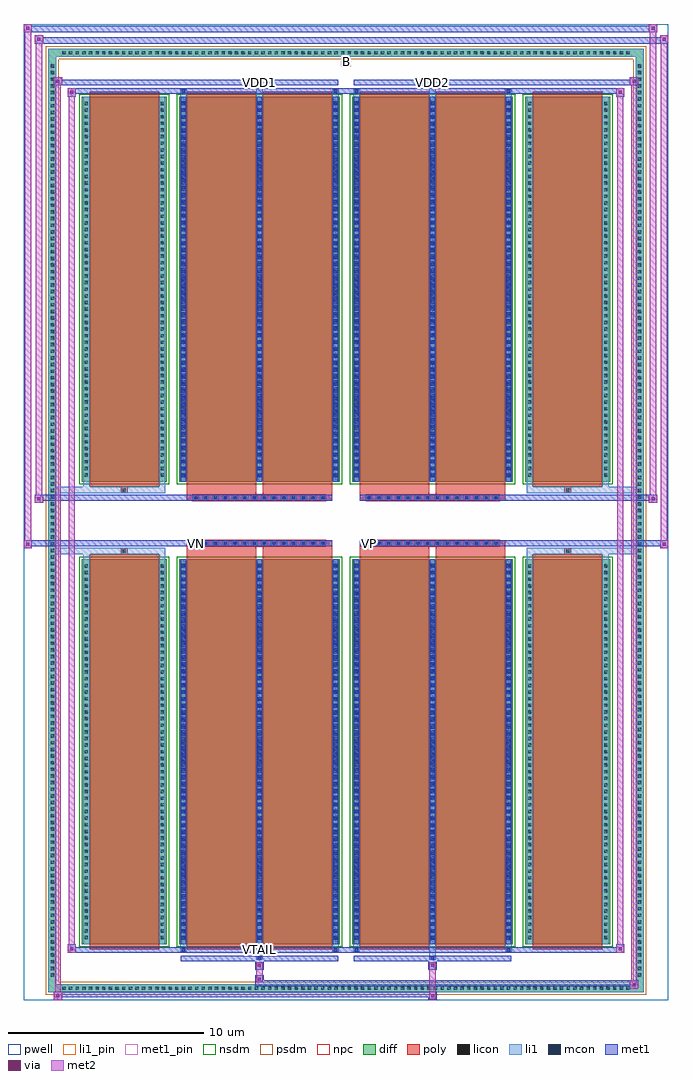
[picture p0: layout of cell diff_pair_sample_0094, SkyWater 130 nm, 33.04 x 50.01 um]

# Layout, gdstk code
import gdstk
lib = gdstk.Library(unit=1e-6, precision=5e-09)
def R(c, l, rs):  # rectangles x0, y0, x1, y1
    for r in rs: c.add(gdstk.rectangle(r[:2], r[2:], *l))
def A(c, l, x, y, w, h, nx, ny, dx, dy):  # array of equal rectangles
    R(c, l, [(x+i*dx, y+j*dy, x+i*dx+w, y+j*dy+h) for i in range(nx) for j in range(ny)])
def P(c, l, *ps):  # polygons
    for p in ps: c.add(gdstk.Polygon(p, *l))
pwell = (64, 44)
diff = (65, 20)
poly = (66, 20)
licon = (66, 44)
li1_pin = (67, 16)
li1 = (67, 20)
mcon = (67, 44)
met1_pin = (68, 16)
met1 = (68, 20)
via = (68, 44)
met2 = (69, 20)
nsdm = (93, 44)
psdm = (94, 20)
npc = (95, 20)

diff_pair_sample_0094 = lib.new_cell('diff_pair_sample_0094')
R(diff_pair_sample_0094, pwell, [(-16.52,-24.57,16.52,25.44), (-13.84,-22.76,-0.01,-0.8), (0.01,-22.76,13.84,-0.8), (-13.84,0.8,-0.01,22.76), (0.01,0.8,13.84,22.76)])
A(diff_pair_sample_0094, diff, -14.655, -24.17, 0.41, 0.41, 86, 2, 0.34, 47.93)
A(diff_pair_sample_0094, diff, -15.25, -23.495, 0.41, 0.41, 1, 138, 0, 0.34)
A(diff_pair_sample_0094, diff, 14.84, -23.495, 0.41, 0.41, 1, 138, 0, 0.34)
R(diff_pair_sample_0094, diff, [(-14.655,-24.17,14.655,-23.76), (-15.25,-23.495,-14.84,23.495), (14.84,-23.495,15.25,23.495), (-13.53,-21.715,-9.19,-1.985), (-8.55,-21.715,-0.32,-1.985), (0.32,-21.715,8.55,-1.985), (9.19,-21.715,13.53,-1.985), (-13.53,1.985,-9.19,21.715), (-8.55,1.985,-0.32,21.715), (0.32,1.985,8.55,21.715), (9.19,1.985,13.53,21.715), (-14.655,23.76,14.655,24.17)])
P(diff_pair_sample_0094, diff, [(15.25,24.17),(-15.25,24.17),(-15.25,-23.76),(-14.84,-23.76),(-14.84,23.76),(14.84,23.76),(14.84,-23.76),(-14.84,-23.76),(-15.25,-23.76),(-15.25,-24.17),(15.25,-24.17)])
A(diff_pair_sample_0094, poly, -7.85, -1.33, 0.33, 0.33, 14, 2, 0.5, 2.33)
A(diff_pair_sample_0094, poly, 1.02, -1.33, 0.33, 0.33, 14, 2, 0.5, 2.33)
R(diff_pair_sample_0094, poly, [(-13.14,-21.965,-9.58,-1.735), (-8.16,-21.965,-4.6,-1.735), (-4.27,-21.965,-0.71,-1.735), (0.71,-21.965,4.27,-1.735), (4.6,-21.965,8.16,-1.735), (9.58,-21.965,13.14,-1.735), (-11.525,-1.735,-11.195,-1.405), (-11.525,-1.735,-11.195,-1.405), (-8.16,-1.735,-4.6,-1.33), (-4.27,-1.735,-0.71,-1.33), (0.71,-1.735,4.27,-1.33), (4.6,-1.735,8.16,-1.33), (11.195,-1.735,11.525,-1.405), (11.195,-1.735,11.525,-1.405), (-8.16,-1.33,-0.71,-1), (0.71,-1.33,8.16,-1), (-8.16,1,-0.71,1.33), (0.71,1,8.16,1.33), (-8.16,1.33,-4.6,1.735), (-4.27,1.33,-0.71,1.735), (0.71,1.33,4.27,1.735), (4.6,1.33,8.16,1.735), (-11.525,1.405,-11.195,1.735), (-11.525,1.405,-11.195,1.735), (11.195,1.405,11.525,1.735), (11.195,1.405,11.525,1.735), (-13.14,1.735,-9.58,21.965), (-8.16,1.735,-4.6,21.965), (-4.27,1.735,-0.71,21.965), (0.71,1.735,4.27,21.965), (4.6,1.735,8.16,21.965), (9.58,1.735,13.14,21.965)])
A(diff_pair_sample_0094, licon, -14.535, -24.05, 0.17, 0.17, 86, 2, 0.34, 47.93)
A(diff_pair_sample_0094, licon, -15.13, -23.375, 0.17, 0.17, 1, 138, 0, 0.34)
A(diff_pair_sample_0094, licon, 14.96, -23.375, 0.17, 0.17, 1, 138, 0, 0.34)
A(diff_pair_sample_0094, licon, -13.39, -21.455, 0.17, 0.17, 1, 57, 0, 0.34)
A(diff_pair_sample_0094, licon, -9.5, -21.455, 0.17, 0.17, 1, 57, 0, 0.34)
A(diff_pair_sample_0094, licon, -8.41, -21.455, 0.17, 0.17, 3, 57, 3.89, 0.34)
A(diff_pair_sample_0094, licon, 0.46, -21.455, 0.17, 0.17, 3, 57, 3.89, 0.34)
A(diff_pair_sample_0094, licon, 9.33, -21.455, 0.17, 0.17, 1, 57, 0, 0.34)
A(diff_pair_sample_0094, licon, 13.22, -21.455, 0.17, 0.17, 1, 57, 0, 0.34)
A(diff_pair_sample_0094, licon, -7.77, -1.25, 0.17, 0.17, 14, 2, 0.5, 2.33)
A(diff_pair_sample_0094, licon, 1.1, -1.25, 0.17, 0.17, 14, 2, 0.5, 2.33)
A(diff_pair_sample_0094, licon, -13.39, 2.245, 0.17, 0.17, 1, 57, 0, 0.34)
A(diff_pair_sample_0094, licon, -9.5, 2.245, 0.17, 0.17, 1, 57, 0, 0.34)
A(diff_pair_sample_0094, licon, -8.41, 2.245, 0.17, 0.17, 3, 57, 3.89, 0.34)
A(diff_pair_sample_0094, licon, 0.46, 2.245, 0.17, 0.17, 3, 57, 3.89, 0.34)
A(diff_pair_sample_0094, licon, 9.33, 2.245, 0.17, 0.17, 1, 57, 0, 0.34)
A(diff_pair_sample_0094, licon, 13.22, 2.245, 0.17, 0.17, 1, 57, 0, 0.34)
R(diff_pair_sample_0094, licon, [(-11.445,-1.655,-11.275,-1.485), (11.275,-1.655,11.445,-1.485), (-11.445,1.485,-11.275,1.655), (11.275,1.485,11.445,1.655)])
R(diff_pair_sample_0094, li1_pin, [(-0.25,23.26,0.25,23.76)])
A(diff_pair_sample_0094, li1, -14.615, -24.13, 0.33, 0.33, 86, 2, 0.34, 47.93)
A(diff_pair_sample_0094, li1, -15.21, -23.455, 0.33, 0.33, 1, 138, 0, 0.34)
A(diff_pair_sample_0094, li1, 14.88, -23.455, 0.33, 0.33, 1, 138, 0, 0.34)
A(diff_pair_sample_0094, li1, -8.49, -21.715, 0.33, 19.73, 3, 2, 3.89, 23.7)
A(diff_pair_sample_0094, li1, 0.38, -21.715, 0.33, 19.73, 3, 2, 3.89, 23.7)
A(diff_pair_sample_0094, li1, -13.47, -21.535, 0.33, 0.33, 1, 57, 0, 0.34)
A(diff_pair_sample_0094, li1, -9.58, -21.535, 0.33, 0.33, 1, 57, 0, 0.34)
A(diff_pair_sample_0094, li1, -8.49, -21.535, 0.33, 0.33, 3, 57, 3.89, 0.34)
A(diff_pair_sample_0094, li1, 0.38, -21.535, 0.33, 0.33, 3, 57, 3.89, 0.34)
A(diff_pair_sample_0094, li1, 9.25, -21.535, 0.33, 0.33, 1, 57, 0, 0.34)
A(diff_pair_sample_0094, li1, 13.14, -21.535, 0.33, 0.33, 1, 57, 0, 0.34)
A(diff_pair_sample_0094, li1, -8.41, -21.475, 0.17, 0.17, 3, 54, 3.89, 0.36)
A(diff_pair_sample_0094, li1, -8.41, -21.475, 0.17, 19.25, 3, 2, 3.89, 23.7)
A(diff_pair_sample_0094, li1, 0.46, -21.475, 0.17, 0.17, 3, 54, 3.89, 0.36)
A(diff_pair_sample_0094, li1, 0.46, -21.475, 0.17, 19.25, 3, 2, 3.89, 23.7)
A(diff_pair_sample_0094, li1, -7.85, -1.33, 0.33, 0.33, 14, 2, 0.5, 2.33)
A(diff_pair_sample_0094, li1, 1.02, -1.33, 0.33, 0.33, 14, 2, 0.5, 2.33)
A(diff_pair_sample_0094, li1, -13.47, 2.165, 0.33, 0.33, 1, 57, 0, 0.34)
A(diff_pair_sample_0094, li1, -9.58, 2.165, 0.33, 0.33, 1, 57, 0, 0.34)
A(diff_pair_sample_0094, li1, -8.49, 2.165, 0.33, 0.33, 3, 57, 3.89, 0.34)
A(diff_pair_sample_0094, li1, 0.38, 2.165, 0.33, 0.33, 3, 57, 3.89, 0.34)
A(diff_pair_sample_0094, li1, 9.25, 2.165, 0.33, 0.33, 1, 57, 0, 0.34)
A(diff_pair_sample_0094, li1, 13.14, 2.165, 0.33, 0.33, 1, 57, 0, 0.34)
A(diff_pair_sample_0094, li1, -8.41, 2.225, 0.17, 0.17, 3, 54, 3.89, 0.36)
A(diff_pair_sample_0094, li1, 0.46, 2.225, 0.17, 0.17, 3, 54, 3.89, 0.36)
R(diff_pair_sample_0094, li1, [(-15.25,-24.17,-14.84,-23.76), (-15.25,-24.17,-14.84,-23.76), (-14.84,-24.17,14.84,-23.76), (14.84,-24.17,15.25,-23.76), (14.84,-24.17,15.25,-23.76), (-15.25,-23.76,-14.84,23.76), (14.84,-23.76,15.25,23.76), (-4.6,-22.52,-4.27,-21.715), (-4.52,-22.52,-4.35,-22.35), (4.27,-22.52,4.6,-21.715), (4.35,-22.52,4.52,-22.35), (-8.49,-22.09,-8.16,-21.715), (-8.41,-22.09,-8.24,-21.92), (-0.71,-22.09,-0.38,-21.715), (-0.63,-22.09,-0.46,-21.92), (0.38,-22.09,0.71,-21.715), (0.46,-22.09,0.63,-21.92), (8.16,-22.09,8.49,-21.715), (8.24,-22.09,8.41,-21.92), (-13.47,-21.715,-13.14,-1.985), (-9.58,-21.715,-9.25,-1.985), (9.25,-21.715,9.58,-1.985), (13.14,-21.715,13.47,-1.985), (-13.47,-1.985,-13.14,-1.405), (-9.58,-1.985,-9.25,-1.405), (9.25,-1.985,9.58,-1.405), (13.14,-1.985,13.47,-1.405), (-15.25,-1.735,-11.525,-1.405), (-13.47,-1.735,-11.525,-1.405), (-11.525,-1.735,-11.195,-1.405), (-11.195,-1.735,-9.25,-1.405), (9.25,-1.735,11.195,-1.405), (11.195,-1.735,11.525,-1.405), (11.195,-1.735,15.25,-1.405), (11.525,-1.735,13.47,-1.405), (-15.25,1.405,-11.525,1.735), (-13.47,1.405,-11.525,1.735), (-13.47,1.405,-13.14,1.985), (-11.525,1.405,-11.195,1.735), (-11.195,1.405,-9.25,1.735), (-9.58,1.405,-9.25,1.985), (9.25,1.405,11.195,1.735), (9.25,1.405,9.58,1.985), (11.195,1.405,11.525,1.735), (11.195,1.405,15.25,1.735), (11.525,1.405,13.47,1.735), (13.14,1.405,13.47,1.985), (-13.47,1.985,-13.14,21.715), (-9.58,1.985,-9.25,21.715), (9.25,1.985,9.58,21.715), (13.14,1.985,13.47,21.715), (-8.49,21.715,-8.16,22.09), (-4.6,21.715,-4.27,22.52), (-0.71,21.715,-0.38,22.09), (0.38,21.715,0.71,22.09), (4.27,21.715,4.6,22.52), (8.16,21.715,8.49,22.09), (-8.41,21.92,-8.24,22.09), (-0.63,21.92,-0.46,22.09), (0.46,21.92,0.63,22.09), (8.24,21.92,8.41,22.09), (-4.52,22.35,-4.35,22.52), (4.35,22.35,4.52,22.52), (-15.25,23.76,-14.84,24.17), (-15.25,23.76,-14.84,24.17), (-14.84,23.76,14.84,24.17), (14.84,23.76,15.25,24.17), (14.84,23.76,15.25,24.17)])
A(diff_pair_sample_0094, mcon, -8.41, -21.475, 0.17, 0.17, 3, 54, 3.89, 0.36)
A(diff_pair_sample_0094, mcon, 0.46, -21.475, 0.17, 0.17, 3, 54, 3.89, 0.36)
A(diff_pair_sample_0094, mcon, -7.77, -1.25, 0.17, 0.17, 14, 2, 0.5, 2.33)
A(diff_pair_sample_0094, mcon, 1.1, -1.25, 0.17, 0.17, 14, 2, 0.5, 2.33)
A(diff_pair_sample_0094, mcon, -8.41, 2.225, 0.17, 0.17, 3, 54, 3.89, 0.36)
A(diff_pair_sample_0094, mcon, 0.46, 2.225, 0.17, 0.17, 3, 54, 3.89, 0.36)
R(diff_pair_sample_0094, mcon, [(-4.52,-22.52,-4.35,-22.35), (4.35,-22.52,4.52,-22.35), (-8.41,-22.09,-8.24,-21.92), (-0.63,-22.09,-0.46,-21.92), (0.46,-22.09,0.63,-21.92), (8.24,-22.09,8.41,-21.92), (-8.41,21.92,-8.24,22.09), (-0.63,21.92,-0.46,22.09), (0.46,21.92,0.63,22.09), (8.24,21.92,8.41,22.09), (-4.52,22.35,-4.35,22.52), (4.35,22.35,4.52,22.52)])
R(diff_pair_sample_0094, met1_pin, [(-4.57,-22.13,-4.3,-21.86), (-7.82,-1.29,-7.55,-1.02), (1.05,-1.29,1.32,-1.02), (-4.57,22.31,-4.3,22.58), (4.3,22.31,4.57,22.58)])
A(diff_pair_sample_0094, met1, -8.47, -21.715, 0.29, 19.73, 3, 2, 3.89, 23.7)
A(diff_pair_sample_0094, met1, 0.4, -21.715, 0.29, 19.73, 3, 2, 3.89, 23.7)
A(diff_pair_sample_0094, met1, -8.47, -21.535, 0.29, 0.29, 3, 54, 3.89, 0.36)
A(diff_pair_sample_0094, met1, 0.4, -21.535, 0.29, 0.29, 3, 54, 3.89, 0.36)
A(diff_pair_sample_0094, met1, -7.83, -1.31, 0.29, 0.29, 14, 2, 0.5, 2.33)
A(diff_pair_sample_0094, met1, 1.04, -1.31, 0.29, 0.29, 14, 2, 0.5, 2.33)
A(diff_pair_sample_0094, met1, -8.47, 2.165, 0.29, 0.29, 3, 54, 3.89, 0.36)
A(diff_pair_sample_0094, met1, 0.4, 2.165, 0.29, 0.29, 3, 54, 3.89, 0.36)
R(diff_pair_sample_0094, met1, [(-14.98,-24.57,-14.55,-24.14), (4.22,-24.57,4.65,-24.14), (-14.98,-24.43,4.65,-24.14), (14.55,-24,14.98,-23.57), (-4.65,-23.86,14.98,-23.57), (-4.65,-23.72,-4.22,-23.29), (-4.65,-23.01,-4.22,-22.58), (4.22,-23.01,4.65,-22.58), (-8.47,-22.58,-0.4,-22.29), (-4.58,-22.58,-4.29,-22.29), (0.4,-22.58,8.47,-22.29), (4.29,-22.58,4.58,-22.29), (-14.27,-22.15,-13.84,-21.72), (-14.27,-22.15,-8.47,-21.86), (-8.47,-22.15,-8.18,-21.86), (-8.47,-22.15,-0.4,-21.86), (-0.69,-22.15,-0.4,-21.86), (-0.4,-22.15,0.4,-21.86), (0.4,-22.15,0.69,-21.86), (0.4,-22.15,8.47,-21.86), (8.18,-22.15,8.47,-21.86), (8.47,-22.15,14.27,-21.86), (13.84,-22.15,14.27,-21.72), (-16.52,-1.43,-16.09,-1), (16.09,-1.43,16.52,-1), (-16.52,-1.33,-0.71,-1), (-8.16,-1.33,-0.71,-1), (0.71,-1.33,8.16,-1), (0.71,-1.33,16.52,-1), (-15.95,0.9,-15.52,1.33), (15.52,0.9,15.95,1.33), (-15.95,1,-8.16,1.33), (-8.16,1,-0.71,1.33), (0.71,1,8.16,1.33), (8.16,1,15.95,1.33), (-14.27,21.72,-13.84,22.15), (13.84,21.72,14.27,22.15), (-14.27,21.86,-8.47,22.15), (-8.47,21.86,-8.18,22.15), (-8.47,21.86,-0.4,22.15), (-0.69,21.86,-0.4,22.15), (-0.4,21.86,0.4,22.15), (0.4,21.86,0.69,22.15), (0.4,21.86,8.47,22.15), (8.18,21.86,8.47,22.15), (8.47,21.86,14.27,22.15), (-14.98,22.29,-14.55,22.72), (-14.98,22.29,-8.47,22.58), (-8.47,22.29,-0.4,22.58), (-4.58,22.29,-4.29,22.58), (0.4,22.29,8.47,22.58), (4.29,22.29,4.58,22.58), (8.47,22.29,14.98,22.58), (14.55,22.29,14.98,22.72), (-15.95,24.44,-15.52,24.87), (-15.95,24.44,-13.84,24.77), (-13.84,24.44,13.84,24.77), (13.84,24.44,16.52,24.77), (16.09,24.44,16.52,24.87), (-16.52,25.01,-16.09,25.44), (-16.52,25.01,-13.84,25.34), (-13.84,25.01,13.84,25.34), (13.84,25.01,15.95,25.34), (15.52,25.01,15.95,25.44)])
R(diff_pair_sample_0094, via, [(-14.84,-24.43,-14.69,-24.28), (4.36,-24.43,4.51,-24.28), (14.69,-23.86,14.84,-23.71), (-4.51,-23.58,-4.36,-23.43), (-4.51,-22.87,-4.36,-22.72), (4.36,-22.87,4.51,-22.72), (-14.13,-22.01,-13.98,-21.86), (13.98,-22.01,14.13,-21.86), (-16.38,-1.29,-16.23,-1.14), (16.23,-1.29,16.38,-1.14), (-15.81,1.04,-15.66,1.19), (15.66,1.04,15.81,1.19), (-14.13,21.86,-13.98,22.01), (13.98,21.86,14.13,22.01), (-14.84,22.43,-14.69,22.58), (14.69,22.43,14.84,22.58), (-15.81,24.58,-15.66,24.73), (16.23,24.58,16.38,24.73), (-16.38,25.15,-16.23,25.3), (15.66,25.15,15.81,25.3)])
R(diff_pair_sample_0094, met2, [(-14.98,-24.57,-14.55,-24.14), (-14.91,-24.57,-14.62,22.72), (-14.62,-24.57,-14.55,-24.14), (-14.93,-24.52,-14.6,-24.19), (4.27,-24.52,4.6,-24.19), (4.27,-24.19,4.6,-22.96), (14.55,-24,14.98,-23.57), (14.62,-24,14.91,22.72), (14.91,-24,14.98,-23.57), (14.6,-23.95,14.93,-23.62), (-4.6,-23.67,-4.27,-23.34), (-4.6,-23.34,-4.27,-22.96), (-4.6,-22.96,-4.27,-22.63), (4.27,-22.96,4.6,-22.63), (-14.27,-22.15,-13.84,-21.72), (-14.2,-22.15,-13.91,22.15), (-13.91,-22.15,-13.84,-21.72), (13.84,-22.15,14.27,-21.72), (13.91,-22.15,14.2,22.15), (14.2,-22.15,14.27,-21.72), (-14.22,-22.1,-13.89,-21.77), (13.89,-22.1,14.22,-21.77), (-16.52,-1.43,-16.09,-1), (-16.47,-1.43,-16.14,25.44), (-16.14,-1.43,-16.09,-1), (16.09,-1.43,16.52,-1), (16.14,-1.43,16.47,24.87), (16.47,-1.43,16.52,-1), (-16.47,-1.38,-16.14,-1.05), (16.14,-1.38,16.47,-1.05), (-15.95,0.9,-15.52,1.33), (-15.9,0.9,-15.57,24.87), (-15.57,0.9,-15.52,1.33), (15.52,0.9,15.95,1.33), (15.57,0.9,15.9,25.44), (15.9,0.9,15.95,1.33), (-15.9,0.95,-15.57,1.28), (15.57,0.95,15.9,1.28), (-14.27,21.72,-13.84,22.15), (-13.91,21.72,-13.84,22.15), (13.84,21.72,14.27,22.15), (14.2,21.72,14.27,22.15), (-14.22,21.77,-13.89,22.1), (13.89,21.77,14.22,22.1), (-14.98,22.29,-14.55,22.72), (-14.62,22.29,-14.55,22.72), (14.55,22.29,14.98,22.72), (14.91,22.29,14.98,22.72), (-14.93,22.34,-14.6,22.67), (14.6,22.34,14.93,22.67), (-15.95,24.44,-15.52,24.87), (-15.57,24.44,-15.52,24.87), (16.09,24.44,16.52,24.87), (16.47,24.44,16.52,24.87), (-15.9,24.49,-15.57,24.82), (16.14,24.49,16.47,24.82), (-16.52,25.01,-16.09,25.44), (-16.14,25.01,-16.09,25.44), (15.52,25.01,15.95,25.44), (15.9,25.01,15.95,25.44), (-16.47,25.06,-16.14,25.39), (15.57,25.06,15.9,25.39)])
R(diff_pair_sample_0094, nsdm, [(-13.66,-21.845,-9.06,-1.855), (-8.68,-21.845,-0.19,-1.855), (0.19,-21.845,8.68,-1.855), (9.06,-21.845,13.66,-1.855), (-13.66,1.855,-9.06,21.845), (-8.68,1.855,-0.19,21.845), (0.19,1.855,8.68,21.845), (9.06,1.855,13.66,21.845)])
P(diff_pair_sample_0094, psdm, [(15.38,24.3),(-15.38,24.3),(-15.38,-23.63),(-14.71,-23.63),(-14.71,23.63),(14.71,23.63),(14.71,-23.63),(-14.71,-23.63),(-15.38,-23.63),(-15.38,-24.3),(15.38,-24.3)])
A(diff_pair_sample_0094, npc, -7.87, -1.35, 0.37, 0.37, 14, 2, 0.5, 2.33)
A(diff_pair_sample_0094, npc, 1, -1.35, 0.37, 0.37, 14, 2, 0.5, 2.33)
R(diff_pair_sample_0094, npc, [(-11.545,-1.755,-11.175,-1.385), (11.175,-1.755,11.545,-1.385), (-7.87,-1.35,-7,-0.98), (-7.87,-1.35,-7,-0.98), (-7.37,-1.35,-6.5,-0.98), (-7.37,-1.35,-6.5,-0.98), (-6.87,-1.35,-6,-0.98), (-6.87,-1.35,-6,-0.98), (-6.37,-1.35,-5.5,-0.98), (-6.37,-1.35,-5.5,-0.98), (-5.87,-1.35,-5,-0.98), (-5.87,-1.35,-5,-0.98), (-5.37,-1.35,-4.5,-0.98), (-5.37,-1.35,-4.5,-0.98), (-4.87,-1.35,-4,-0.98), (-4.87,-1.35,-4,-0.98), (-4.37,-1.35,-3.5,-0.98), (-4.37,-1.35,-3.5,-0.98), (-3.87,-1.35,-3,-0.98), (-3.87,-1.35,-3,-0.98), (-3.37,-1.35,-2.5,-0.98), (-3.37,-1.35,-2.5,-0.98), (-2.87,-1.35,-2,-0.98), (-2.87,-1.35,-2,-0.98), (-2.37,-1.35,-1.5,-0.98), (-2.37,-1.35,-1.5,-0.98), (-1.87,-1.35,-1,-0.98), (-1.87,-1.35,-1,-0.98), (1,-1.35,1.87,-0.98), (1,-1.35,1.87,-0.98), (1.5,-1.35,2.37,-0.98), (1.5,-1.35,2.37,-0.98), (2,-1.35,2.87,-0.98), (2,-1.35,2.87,-0.98), (2.5,-1.35,3.37,-0.98), (2.5,-1.35,3.37,-0.98), (3,-1.35,3.87,-0.98), (3,-1.35,3.87,-0.98), (3.5,-1.35,4.37,-0.98), (3.5,-1.35,4.37,-0.98), (4,-1.35,4.87,-0.98), (4,-1.35,4.87,-0.98), (4.5,-1.35,5.37,-0.98), (4.5,-1.35,5.37,-0.98), (5,-1.35,5.87,-0.98), (5,-1.35,5.87,-0.98), (5.5,-1.35,6.37,-0.98), (5.5,-1.35,6.37,-0.98), (6,-1.35,6.87,-0.98), (6,-1.35,6.87,-0.98), (6.5,-1.35,7.37,-0.98), (6.5,-1.35,7.37,-0.98), (7,-1.35,7.87,-0.98), (7,-1.35,7.87,-0.98), (-7.87,0.98,-7,1.35), (-7.87,0.98,-7,1.35), (-7.37,0.98,-6.5,1.35), (-7.37,0.98,-6.5,1.35), (-6.87,0.98,-6,1.35), (-6.87,0.98,-6,1.35), (-6.37,0.98,-5.5,1.35), (-6.37,0.98,-5.5,1.35), (-5.87,0.98,-5,1.35), (-5.87,0.98,-5,1.35), (-5.37,0.98,-4.5,1.35), (-5.37,0.98,-4.5,1.35), (-4.87,0.98,-4,1.35), (-4.87,0.98,-4,1.35), (-4.37,0.98,-3.5,1.35), (-4.37,0.98,-3.5,1.35), (-3.87,0.98,-3,1.35), (-3.87,0.98,-3,1.35), (-3.37,0.98,-2.5,1.35), (-3.37,0.98,-2.5,1.35), (-2.87,0.98,-2,1.35), (-2.87,0.98,-2,1.35), (-2.37,0.98,-1.5,1.35), (-2.37,0.98,-1.5,1.35), (-1.87,0.98,-1,1.35), (-1.87,0.98,-1,1.35), (1,0.98,1.87,1.35), (1,0.98,1.87,1.35), (1.5,0.98,2.37,1.35), (1.5,0.98,2.37,1.35), (2,0.98,2.87,1.35), (2,0.98,2.87,1.35), (2.5,0.98,3.37,1.35), (2.5,0.98,3.37,1.35), (3,0.98,3.87,1.35), (3,0.98,3.87,1.35), (3.5,0.98,4.37,1.35), (3.5,0.98,4.37,1.35), (4,0.98,4.87,1.35), (4,0.98,4.87,1.35), (4.5,0.98,5.37,1.35), (4.5,0.98,5.37,1.35), (5,0.98,5.87,1.35), (5,0.98,5.87,1.35), (5.5,0.98,6.37,1.35), (5.5,0.98,6.37,1.35), (6,0.98,6.87,1.35), (6,0.98,6.87,1.35), (6.5,0.98,7.37,1.35), (6.5,0.98,7.37,1.35), (7,0.98,7.87,1.35), (7,0.98,7.87,1.35), (-11.545,1.385,-11.175,1.755), (11.175,1.385,11.545,1.755)])
diff_pair_sample_0094.add(gdstk.Label('VTAIL', (-4.435,-21.995), layer=68, texttype=5))
diff_pair_sample_0094.add(gdstk.Label('VN', (-7.685,-1.155), layer=68, texttype=5))
diff_pair_sample_0094.add(gdstk.Label('VP', (1.185,-1.155), layer=68, texttype=5))
diff_pair_sample_0094.add(gdstk.Label('B', (0,23.51), layer=67, texttype=5))
diff_pair_sample_0094.add(gdstk.Label('VDD2', (4.435,22.445), layer=68, texttype=5))
diff_pair_sample_0094.add(gdstk.Label('VDD1', (-4.435,22.445), layer=68, texttype=5))

lib.write_gds('diff_pair_sample_0094.gds')
